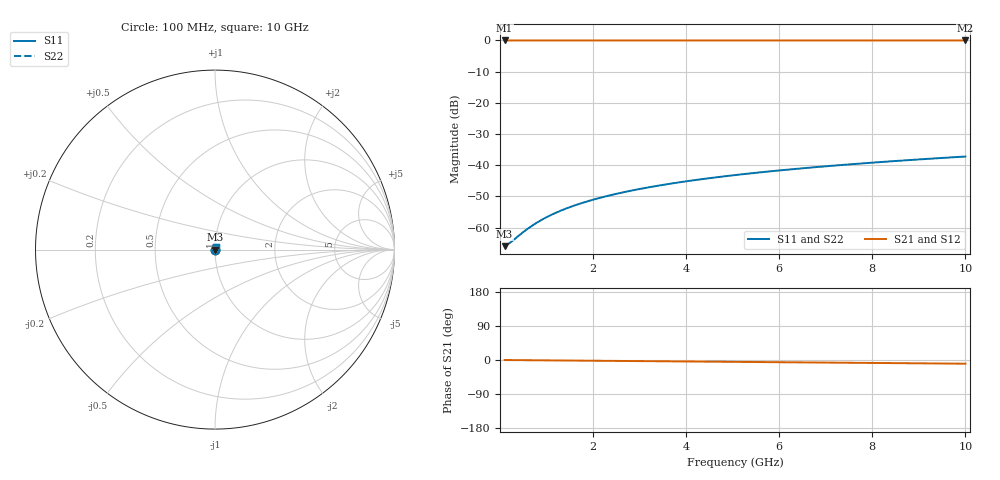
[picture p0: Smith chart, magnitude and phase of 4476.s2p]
# Hz S RI R 50.00
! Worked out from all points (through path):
!   100 points, 100 MHz to 10 GHz, reference 50 ohm
!   highest |S21| = 0.00 dB at 100 MHz (marker M1); lowest = 0.0 dB at 10 GHz (marker M2)
!   group delay of S21, straight-line fit = 2.71 ps
!   lowest |S11| = -65.9 dB at 100 MHz (marker M3), VSWR 1.00, Z = 50 + j0.0138 ohm
!   |S11| at or under -10 dB: start of sweep to end of sweep
!   |S22| runs from -65.9 to -37.2 dB; largest |S21 - S12| = 0
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1e8  0.000486 0.000137  0.9995 -0.00169  0.9995 -0.00169  0.000486 0.000137
2e8  0.000489 0.000275  0.9995 -0.00337  0.9995 -0.00337  0.000489 0.000275
5e8  0.000498 0.000687  0.9995 -0.00843  0.9995 -0.00843  0.000498 0.000687
6e8  0.000501 0.000824  0.9994 -0.0101  0.9994 -0.0101  0.000501 0.000824
7e8  0.000505 0.000961  0.9994 -0.0118  0.9994 -0.0118  0.000505 0.000961
9e8  0.000513 0.00124  0.9994 -0.0152  0.9994 -0.0152  0.000513 0.00124
1.1e9  0.000523 0.00151  0.9993 -0.0186  0.9993 -0.0186  0.000523 0.00151
1.3e9  0.000535 0.00178  0.9992 -0.0219  0.9992 -0.0219  0.000535 0.00178
1.5e9  0.000548 0.00206  0.9992 -0.0253  0.9992 -0.0253  0.000548 0.00206
1.8e9  0.000572 0.00247  0.999 -0.0304  0.999 -0.0304  0.000572 0.00247
2.1e9  0.000599 0.00288  0.9988 -0.0354  0.9988 -0.0354  0.000599 0.00288
2.5e9  0.000642 0.00342  0.9986 -0.0422  0.9986 -0.0422  0.000642 0.00342
2.9e9  0.000691 0.00397  0.9983 -0.049  0.9983 -0.049  0.000691 0.00397
3.4e9  0.000764 0.00464  0.9978 -0.0574  0.9978 -0.0574  0.000764 0.00464
3.8e9  0.00083 0.00519  0.9974 -0.0642  0.9974 -0.0642  0.00083 0.00519
4.2e9  0.000904 0.00573  0.9969 -0.0709  0.9969 -0.0709  0.000904 0.00573
5.1e9  0.0011 0.00694  0.9957 -0.0862  0.9957 -0.0862  0.0011 0.00694
5.9e9  0.0013 0.00801  0.9944 -0.0997  0.9944 -0.0997  0.0013 0.00801
6.7e9  0.00153 0.00909  0.9929 -0.1132  0.9929 -0.1132  0.00153 0.00909
7.5e9  0.00179 0.0102  0.9913 -0.1268  0.9913 -0.1268  0.00179 0.0102
8.4e9  0.00212 0.0114  0.9892 -0.142  0.9892 -0.142  0.00212 0.0114
1e10  0.00281 0.0135  0.9849 -0.1691  0.9849 -0.1691  0.00281 0.0135
